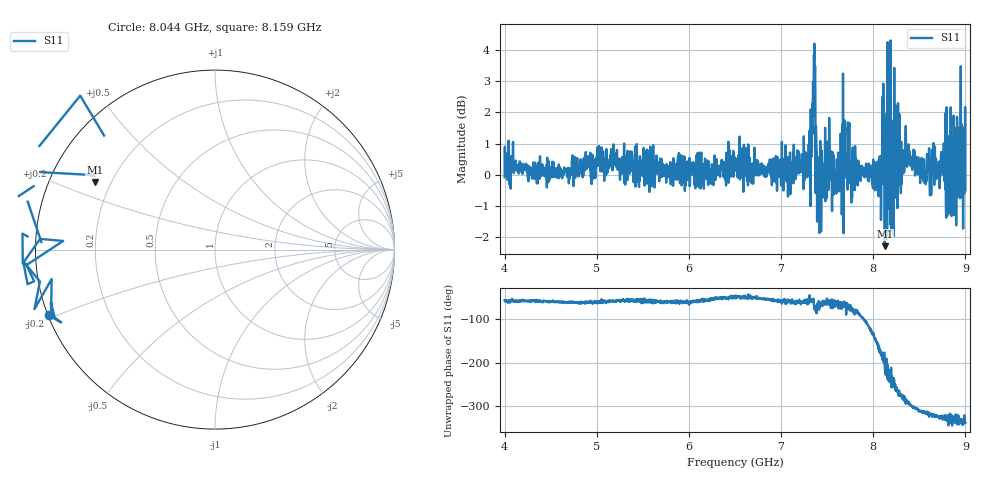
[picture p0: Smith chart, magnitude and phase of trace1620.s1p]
! Created with skrf 1.8.0 (http://scikit-rf.org).
# Hz S RI R 50.0
!freq ReS11 ImS11
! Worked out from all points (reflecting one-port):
!   1601 points, 4 GHz to 9 GHz, reference 50 ohm
!   lowest |S11| = -2.3 dB at 8.125 GHz (marker M1), VSWR 7.67, Z = 6.96 + j12.9 ohm
!   phase of S11 starts at -56 deg and turns -282 deg over the sweep
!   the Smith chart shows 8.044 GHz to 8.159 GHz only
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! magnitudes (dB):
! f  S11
! 4 GHz  -0.1
! 4.625 GHz  -0.1
! 5.25 GHz  -0.1
! 5.875 GHz  0.4
! 6.5 GHz  0.6
! 7.125 GHz  0.3
! 7.294 GHz  0.0
! 7.319 GHz  -1.0
! 7.347 GHz  3.0
! 7.369 GHz  3.5
! 7.397 GHz  -0.2
! 7.412 GHz  -1.1
! 7.525 GHz  1.0
! 7.575 GHz  0.4
! 7.619 GHz  0.7
! 7.669 GHz  0.9
! 7.75 GHz  0.0
! 8.034 GHz  0.3
! 8.125 GHz  -2.3
! 8.162 GHz  -1.1
! 8.209 GHz  1.2
! 8.253 GHz  0.8
! 8.375 GHz  0.8
! 8.556 GHz  -0.2
! 8.659 GHz  0.1
! 8.869 GHz  -0.8
! 8.972 GHz  0.6
! 9 GHz  -0.5
